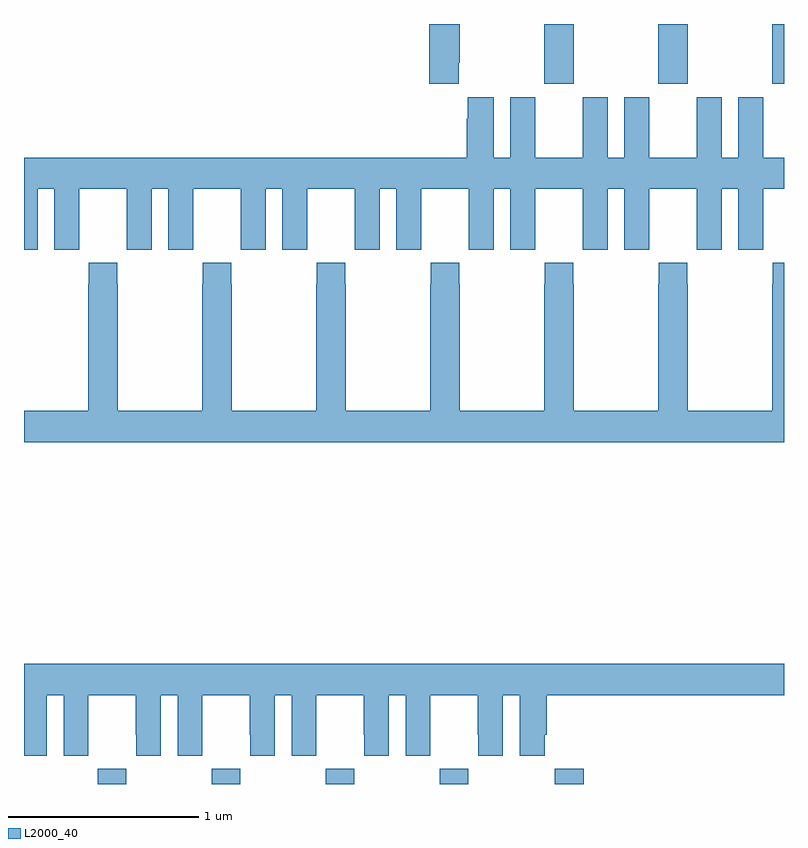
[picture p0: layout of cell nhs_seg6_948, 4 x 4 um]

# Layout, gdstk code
import gdstk
lib = gdstk.Library(unit=1e-6, precision=1e-09)
def R(c, l, rs):  # rectangles x0, y0, x1, y1
    for r in rs: c.add(gdstk.rectangle(r[:2], r[2:], *l))
def A(c, l, x, y, w, h, nx, ny, dx, dy):  # array of equal rectangles
    R(c, l, [(x+i*dx, y+j*dy, x+i*dx+w, y+j*dy+h) for i in range(nx) for j in range(ny)])
def P(c, l, *ps):  # polygons
    for p in ps: c.add(gdstk.Polygon(p, *l))
L2000_40 = (2000, 40)

nhs_seg6_948 = lib.new_cell('nhs_seg6_948')
A(nhs_seg6_948, L2000_40, 169.389, 981.5, 0.15, 0.08, 4, 1, 0.6, 0)
R(nhs_seg6_948, L2000_40, [(171.793,981.5,171.947,981.58), (171.739,985.185,171.894,985.5), (172.339,985.185,172.494,985.5), (172.939,985.185,173,985.5)])
P(nhs_seg6_948, L2000_40, [(171.289,985.297),(171.294,985.297),(171.294,985.5),(171.134,985.5),(171.134,985.185),(171.289,985.185)],
  [(171.335,985.114),(171.335,985.001),(171.329,985.001),(171.329,984.796),(169,984.796),(169,984.312),(169.072,984.312),(169.072,984.632),(169.16,984.632),(169.16,984.312),(169.29,984.312),(169.29,984.424),(169.291,984.424),(169.291,984.632),(169.541,984.632),(169.541,984.424),(169.542,984.424),(169.542,984.312),(169.672,984.312),(169.672,984.632),(169.76,984.632),(169.76,984.312),(169.89,984.312),(169.89,984.424),(169.891,984.424),(169.891,984.632),(170.141,984.632),(170.141,984.424),(170.142,984.424),(170.142,984.312),(170.272,984.312),(170.272,984.632),(170.36,984.632),(170.36,984.312),(170.49,984.312),(170.49,984.424),(170.491,984.424),(170.491,984.632),(170.741,984.632),(170.741,984.424),(170.742,984.424),(170.742,984.312),(170.872,984.312),(170.872,984.632),(170.96,984.632),(170.96,984.312),(171.09,984.312),(171.09,984.424),(171.091,984.424),(171.091,984.632),(171.341,984.632),(171.341,984.424),(171.342,984.424),(171.342,984.312),(171.472,984.312),(171.472,984.632),(171.56,984.632),(171.56,984.312),(171.69,984.312),(171.69,984.424),(171.691,984.424),(171.691,984.632),(171.941,984.632),(171.941,984.424),(171.942,984.424),(171.942,984.312),(172.072,984.312),(172.072,984.632),(172.16,984.632),(172.16,984.312),(172.29,984.312),(172.29,984.424),(172.291,984.424),(172.291,984.632),(172.541,984.632),(172.541,984.424),(172.542,984.424),(172.542,984.312),(172.672,984.312),(172.672,984.632),(172.76,984.632),(172.76,984.312),(172.89,984.312),(172.89,984.424),(172.891,984.424),(172.891,984.632),(173,984.632),(173,984.796),(172.891,984.796),(172.891,985.114),(172.76,985.114),(172.76,984.796),(172.672,984.796),(172.672,985.114),(172.541,985.114),(172.541,984.796),(172.291,984.796),(172.291,985.114),(172.16,985.114),(172.16,984.796),(172.072,984.796),(172.072,985.114),(171.941,985.114),(171.941,984.796),(171.691,984.796),(171.691,985.114),(171.56,985.114),(171.56,984.796),(171.472,984.796),(171.472,985.114)],
  [(173,984.244),(172.941,984.244),(172.941,984.131),(172.939,984.131),(172.939,983.464),(172.494,983.464),(172.494,984.131),(172.491,984.131),(172.491,984.244),(172.341,984.244),(172.341,984.131),(172.339,984.131),(172.339,983.464),(171.894,983.464),(171.894,984.131),(171.891,984.131),(171.891,984.244),(171.741,984.244),(171.741,984.131),(171.739,984.131),(171.739,983.464),(171.294,983.464),(171.294,984.131),(171.291,984.131),(171.291,984.244),(171.141,984.244),(171.141,984.131),(171.139,984.131),(171.139,983.464),(170.694,983.464),(170.694,984.131),(170.691,984.131),(170.691,984.244),(170.541,984.244),(170.541,984.131),(170.539,984.131),(170.539,983.464),(170.094,983.464),(170.094,984.131),(170.091,984.131),(170.091,984.244),(169.941,984.244),(169.941,984.131),(169.939,984.131),(169.939,983.464),(169.494,983.464),(169.494,984.131),(169.491,984.131),(169.491,984.244),(169.341,984.244),(169.341,984.131),(169.339,984.131),(169.339,983.464),(169,983.464),(169,983.3),(173,983.3)],
  [(169.12,981.968),(169.208,981.968),(169.208,981.648),(169.338,981.648),(169.338,981.76),(169.339,981.76),(169.339,981.968),(169.589,981.968),(169.589,981.76),(169.59,981.76),(169.59,981.648),(169.72,981.648),(169.72,981.968),(169.808,981.968),(169.808,981.648),(169.938,981.648),(169.938,981.76),(169.939,981.76),(169.939,981.968),(170.189,981.968),(170.189,981.76),(170.19,981.76),(170.19,981.648),(170.32,981.648),(170.32,981.968),(170.408,981.968),(170.408,981.648),(170.538,981.648),(170.538,981.76),(170.539,981.76),(170.539,981.968),(170.789,981.968),(170.789,981.76),(170.79,981.76),(170.79,981.648),(170.92,981.648),(170.92,981.968),(171.008,981.968),(171.008,981.648),(171.138,981.648),(171.138,981.76),(171.139,981.76),(171.139,981.968),(171.389,981.968),(171.389,981.76),(171.39,981.76),(171.39,981.648),(171.52,981.648),(171.52,981.968),(171.608,981.968),(171.608,981.648),(171.742,981.648),(171.742,981.76),(171.752,981.76),(171.752,981.968),(173,981.968),(173,982.132),(169,982.132),(169,981.648),(169.12,981.648)])

lib.write_gds('nhs_seg6_948.gds')
